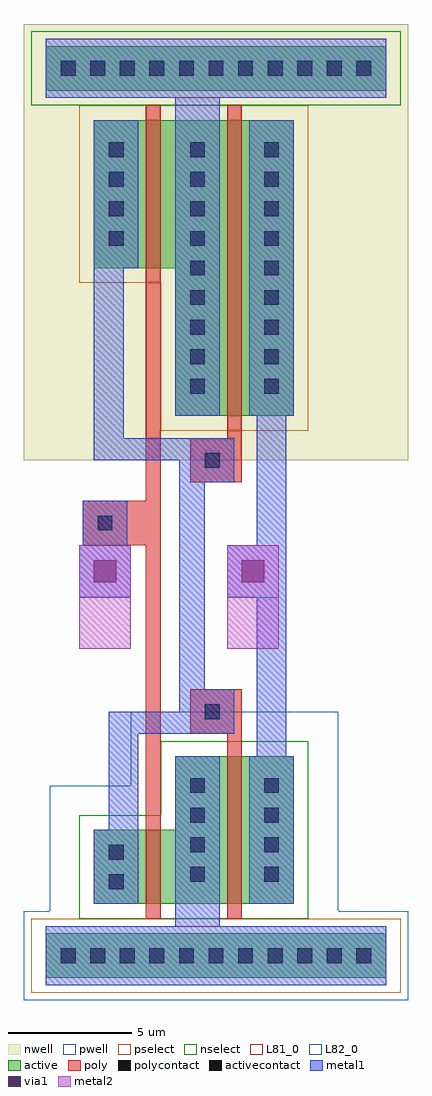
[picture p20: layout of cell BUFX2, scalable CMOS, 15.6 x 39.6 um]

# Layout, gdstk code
import gdstk
lib = gdstk.Library(unit=1e-6, precision=1e-09)
def R(c, l, rs):  # rectangles x0, y0, x1, y1
    for r in rs: c.add(gdstk.rectangle(r[:2], r[2:], *l))
def A(c, l, x, y, w, h, nx, ny, dx, dy):  # array of equal rectangles
    R(c, l, [(x+i*dx, y+j*dy, x+i*dx+w, y+j*dy+h) for i in range(nx) for j in range(ny)])
pwell = (41, 0)
nwell = (42, 0)
active = (43, 0)
pselect = (44, 0)
nselect = (45, 0)
poly = (46, 0)
polycontact = (47, 0)
activecontact = (48, 0)
metal1 = (49, 0)
via1 = (50, 0)
metal2 = (51, 0)
L81_0 = (81, 0)
L82_0 = (82, 0)

bufx2 = lib.new_cell('BUFX2')
R(bufx2, pwell, [(-1.8,-1.8,13.8,1.8), (-0.75,1.8,10.95,6.9), (2.55,6.9,10.95,9.9)])
R(bufx2, nwell, [(-1.8,20.1,13.8,37.8)])
R(bufx2, active, [(-0.9,-0.9,12.9,0.9), (1.05,2.1,9.15,5.1), (4.35,5.1,9.15,8.1), (4.35,21.9,9.15,27.9), (1.05,27.9,9.15,33.9), (-0.9,35.1,12.9,36.9)])
R(bufx2, pselect, [(-1.5,-1.5,13.5,1.5), (3.75,21.3,9.75,27.3), (0.45,27.3,9.75,34.5)])
R(bufx2, nselect, [(0.45,1.5,9.75,5.7), (3.75,5.7,9.75,8.7), (-1.5,34.5,13.5,37.5)])
R(bufx2, poly, [(3.15,1.5,3.75,16.65), (6.45,1.5,7.05,9), (4.95,9,7.05,10.8), (0.6,16.65,3.75,18.45), (3.15,18.45,3.75,34.5), (4.95,19.2,7.05,21), (6.45,21,7.05,34.5)])
R(bufx2, polycontact, [(5.55,9.6,6.15,10.2), (1.2,17.25,1.8,17.85), (5.55,19.8,6.15,20.4)])
A(bufx2, activecontact, -0.3, -0.3, 0.6, 0.6, 11, 2, 1.2, 36)
A(bufx2, activecontact, 4.95, 3, 0.6, 0.6, 1, 4, 0, 1.2)
A(bufx2, activecontact, 7.95, 3, 0.6, 0.6, 1, 4, 0, 1.2)
A(bufx2, activecontact, 4.95, 22.8, 0.6, 0.6, 1, 9, 0, 1.2)
A(bufx2, activecontact, 7.95, 22.8, 0.6, 0.6, 1, 9, 0, 1.2)
A(bufx2, activecontact, 1.65, 28.8, 0.6, 0.6, 1, 4, 0, 1.2)
R(bufx2, activecontact, [(1.65,2.7,2.25,3.3), (1.65,3.9,2.25,4.5)])
R(bufx2, metal1, [(-0.9,-1.2,12.9,1.2), (4.35,1.2,6.15,8.1), (1.05,2.1,2.85,5.1), (7.35,2.1,9.15,8.1), (1.65,5.1,2.85,9), (7.65,8.1,8.85,14.55), (1.65,9,6.75,9.9), (4.5,9.9,6.75,10.8), (4.5,10.8,5.55,19.2), (0.45,14.55,2.55,16.65), (6.45,14.55,8.85,16.65), (0.6,16.65,2.4,18.45), (7.65,16.65,8.85,21.9), (4.5,19.2,6.75,20.1), (1.05,20.1,6.75,21), (1.05,21,2.25,27.9), (4.35,21.9,6.15,34.8), (7.35,21.9,9.15,33.9), (1.05,27.9,2.85,33.9), (-0.9,34.8,12.9,37.2)])
R(bufx2, via1, [(1.05,15.15,1.95,16.05), (7.05,15.15,7.95,16.05)])
R(bufx2, metal2, [(0.45,12.45,2.55,16.65), (6.45,12.45,8.55,16.65)])
R(bufx2, L81_0, [(-0.9,-1.2,12.9,1.2), (-0.9,34.8,12.9,37.2)])
R(bufx2, L82_0, [(0.45,12.45,2.55,14.55), (6.45,12.45,8.55,14.55)])

lib.write_gds('BUFX2.gds')
